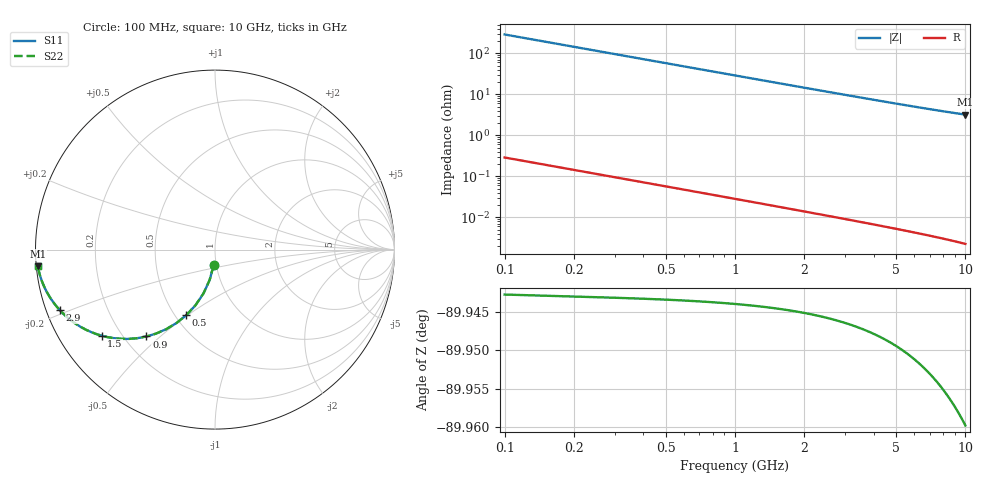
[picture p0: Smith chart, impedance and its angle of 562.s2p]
# Hz S RI R 50.00
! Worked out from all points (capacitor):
!   100 points, 100 MHz to 10 GHz, reference 50 ohm
!   read as one part in shunt: C = 5.56 pF near 100 MHz
!   lowest |Z| = 3.18 ohm at 10 GHz (marker M1)
!   S11 on the Smith chart (normalised r, x): 100 MHz: 0.97, -0.17; 500 MHz: 0.57, -0.49; 900 MHz: 0.29, -0.45; 1.5 GHz: 0.13, -0.33; 2.9 GHz: 0.04, -0.19; 10 GHz: 0.00, -0.05
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1e8  -0.00764 -0.0866  0.9923 -0.0869  0.9923 -0.0869  -0.00764 -0.0866
2e8  -0.0298 -0.1693  0.9702 -0.1698  0.9702 -0.1698  -0.0298 -0.1693
3e8  -0.0645 -0.2447  0.9355 -0.2456  0.9355 -0.2456  -0.0645 -0.2447
4e8  -0.1091 -0.3107  0.8909 -0.3118  0.8909 -0.3118  -0.1091 -0.3107
5e8  -0.1605 -0.3658  0.8395 -0.3673  0.8395 -0.3673  -0.1605 -0.3658
6e8  -0.2157 -0.41  0.7842 -0.4117  0.7842 -0.4117  -0.2157 -0.41
7e8  -0.2723 -0.4437  0.7276 -0.4457  0.7276 -0.4457  -0.2723 -0.4437
9e8  -0.382 -0.4841  0.618 -0.4867  0.618 -0.4867  -0.382 -0.4841
1e9  -0.4327 -0.4935  0.5673 -0.4964  0.5673 -0.4964  -0.4327 -0.4935
1.2e9  -0.5232 -0.4972  0.4767 -0.5007  0.4767 -0.5007  -0.5232 -0.4972
1.5e9  -0.6314 -0.4797  0.3685 -0.4841  0.3685 -0.4841  -0.6314 -0.4797
1.8e9  -0.7113 -0.45  0.2886 -0.4552  0.2886 -0.4552  -0.7113 -0.45
2e9  -0.7525 -0.4281  0.2474 -0.4339  0.2474 -0.4339  -0.7525 -0.4281
2.3e9  -0.8007 -0.3955  0.1992 -0.4023  0.1992 -0.4023  -0.8007 -0.3955
2.6e9  -0.8369 -0.3651  0.163 -0.3727  0.163 -0.3727  -0.8369 -0.3651
2.9e9  -0.8646 -0.3374  0.1353 -0.3459  0.1353 -0.3459  -0.8646 -0.3374
3.4e9  -0.8977 -0.2975  0.1022 -0.3075  0.1022 -0.3075  -0.8977 -0.2975
4.2e9  -0.9305 -0.2474  0.0693 -0.2599  0.0693 -0.2599  -0.9305 -0.2474
5.1e9  -0.9519 -0.2056  0.0479 -0.2209  0.0479 -0.2209  -0.9519 -0.2056
6.7e9  -0.9717 -0.1546  0.028 -0.175  0.028 -0.175  -0.9717 -0.1546
8.4e9  -0.982 -0.1186  0.0176 -0.1447  0.0176 -0.1447  -0.982 -0.1186
1e10  -0.9874 -0.0941  0.0121 -0.1257  0.0121 -0.1257  -0.9874 -0.0941
